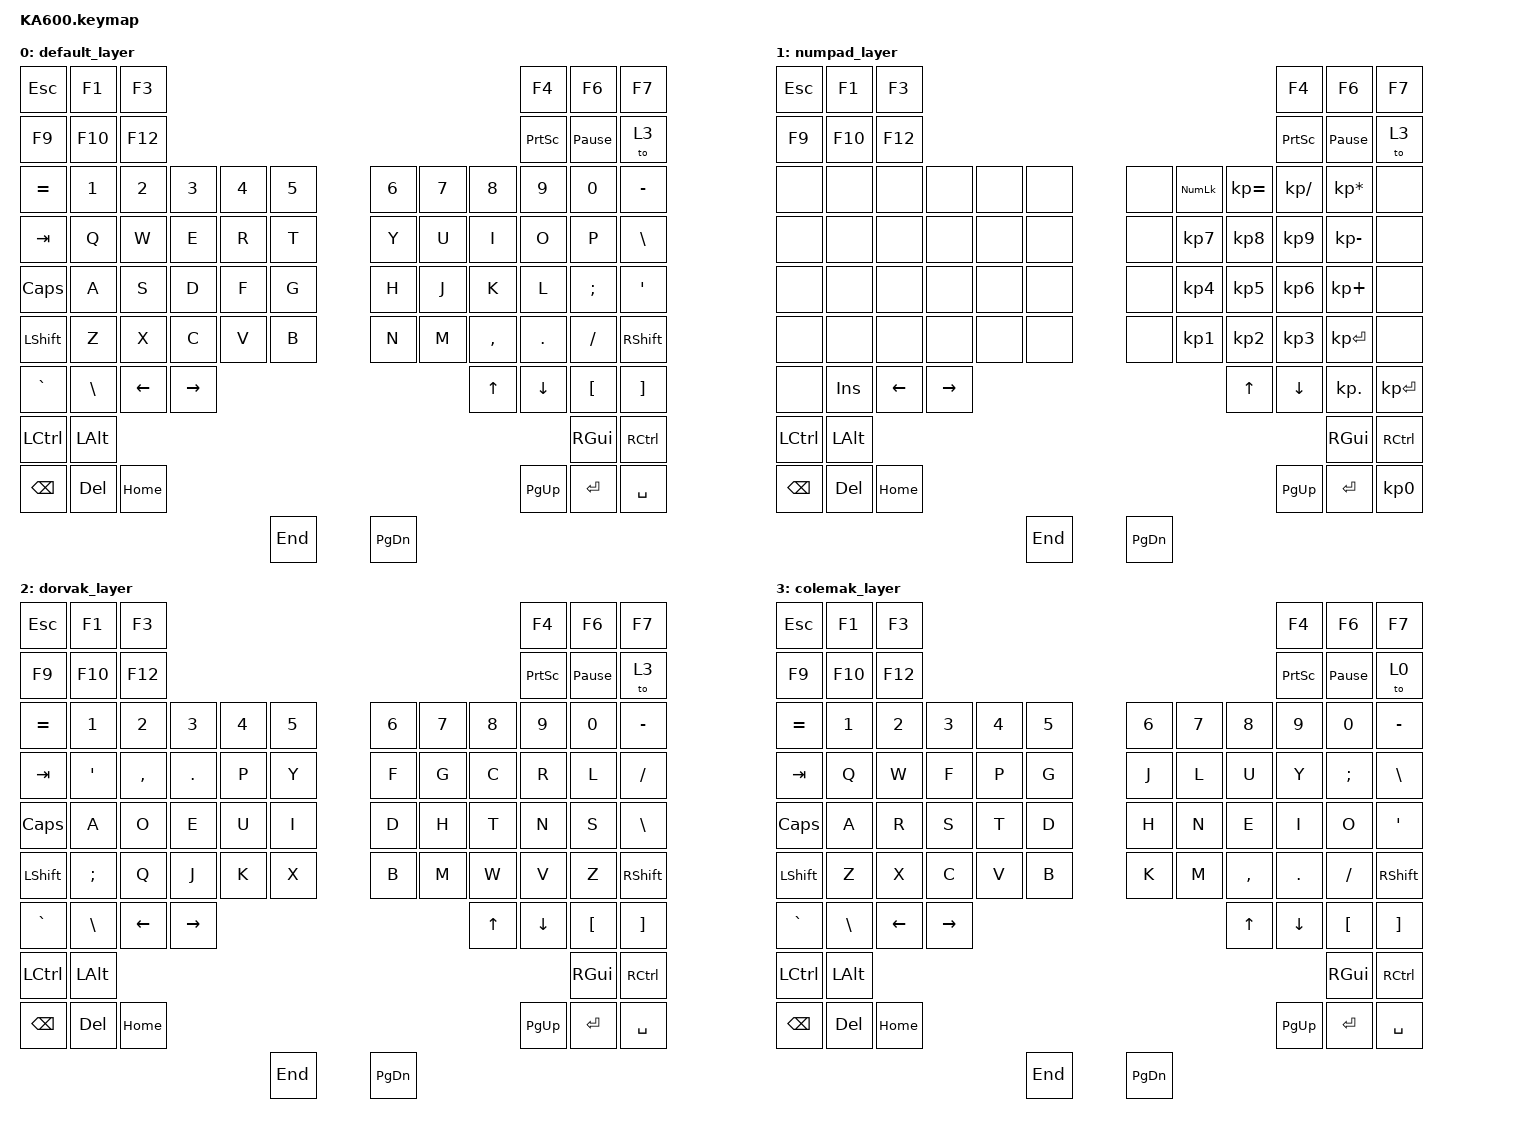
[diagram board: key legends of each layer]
/*
 * Copyright (c) 2021 The ZMK Contributors
 *
 * SPDX-License-Identifier: MIT
 */

#include <behaviors.dtsi>
#include <dt-bindings/zmk/keys.h>
#include <dt-bindings/zmk/bt.h>

/ {
    keymap0: keymap {
        compatible = "zmk,keymap";

    // default layer matches printing on keyboard

default_layer {
 bindings = <
  &kp ESC   &kp F1    /*dead*/   &kp F3    &kp F4    /*dead*/    &kp F6   &kp F7   /*dead*/    
                                                                   &kp F9   &kp F10  /*dead*/   &kp F12  &kp PSCRN /*dead*/ &kp PAUSE_BREAK /*dead*/ &to 3
  &kp EQUAL &kp N1    &kp N2   &kp N3    &kp N4    &kp N5          &kp N6   &kp N7   &kp N8    &kp N9   &kp N0   &kp MINUS                                                             
  &kp TAB   &kp Q     &kp W    &kp E     &kp R     &kp T           &kp Y    &kp U    &kp I     &kp O    &kp P    &kp BSLH                                                              
  &kp CLCK  &kp A     &kp S    &kp D     &kp F     &kp G           &kp H    &kp J    &kp K     &kp L    &kp SEMI &kp SQT                                                               
  &kp LSHFT &kp Z     &kp X    &kp C     &kp V     &kp B           &kp N    &kp M    &kp COMMA &kp DOT  &kp FSLH &kp RSHFT                                                             
            &kp GRAVE &kp BSLH &kp LEFT  &kp RIGHT                          &kp UP   &kp DOWN  &kp LBKT &kp RBKT                                                                                                  
                                         &kp LCTRL &kp LALT        &kp RGUI &kp RCTRL                                                                                                                                        
                               &kp BSPC  &kp DEL   &kp HOME        &kp PG_UP &kp ENTER &kp SPACE                                                                                                                    
                                                   &kp END         &kp PG_DN                                                                                                                                                           
 >;
};

numpad_layer {
 bindings = <
  &kp ESC   &kp F1    /*dead*/   &kp F3    &kp F4    /*dead*/    &kp F6   &kp F7   /*dead*/    
                                                                   &kp F9   &kp F10  /*dead*/   &kp F12  &kp PSCRN /*dead*/ &kp PAUSE_BREAK /*dead*/ &to 3
  &none  &none  &none    &none     &none      &none           &none     &kp KP_NUM  &kp KP_EQUAL &kp KP_SLASH  &kp KP_MULTIPLY &none                                                             
  &none  &none  &none    &none     &none      &none           &none     &kp KP_N7   &kp KP_N8    &kp KP_N9     &kp KP_MINUS    &none                                                              
  &none  &none  &none    &none     &none      &none           &none     &kp KP_N4   &kp KP_N5    &kp KP_N6     &kp KP_PLUS     &none                                                               
  &none  &none  &none    &none     &none      &none           &none     &kp KP_N1   &kp KP_N2    &kp KP_N3     &kp KP_ENTER    &none                                                             
         &none  &kp INS  &kp LEFT  &kp RIGHT                            &kp UP      &kp DOWN     &kp KP_DOT    &kp KP_ENTER                                                                                                  
                                   &kp LCTRL  &kp LALT        &kp RGUI  &kp RCTRL                                                                                                                                        
                         &kp BSPC  &kp DEL    &kp HOME        &kp PG_UP &kp ENTER &kp KP_N0                                                                                                                    
                                              &kp END         &kp PG_DN                                                                                                                                                           
 >;
};     

dorvak_layer {
 bindings = <
  &kp ESC   &kp F1    /*dead*/   &kp F3    &kp F4    /*dead*/    &kp F6   &kp F7   /*dead*/    
                                                                   &kp F9   &kp F10  /*dead*/   &kp F12  &kp PSCRN /*dead*/ &kp PAUSE_BREAK /*dead*/ &to 3
  &kp EQUAL &kp N1    &kp N2    &kp N3    &kp N4    &kp N5          &kp N6    &kp N7   &kp N8    &kp N9   &kp N0   &kp MINUS                                                             
  &kp TAB   &kp SQT   &kp COMMA &kp DOT   &kp P     &kp Y           &kp F     &kp G    &kp C     &kp R    &kp L    &kp FSLH                                                              
  &kp CLCK  &kp A     &kp O     &kp E     &kp U     &kp I           &kp D     &kp H    &kp T     &kp N    &kp S    &kp BSLH                                                               
  &kp LSHFT &kp SEMI  &kp Q     &kp J     &kp K     &kp X           &kp B     &kp M    &kp W     &kp V    &kp Z    &kp RSHFT                                                             
            &kp GRAVE &kp BSLH  &kp LEFT  &kp RIGHT                           &kp UP   &kp DOWN  &kp LBKT &kp RBKT                                                                                                  
                                          &kp LCTRL &kp LALT        &kp RGUI  &kp RCTRL                                                                                                                                        
                                &kp BSPC  &kp DEL   &kp HOME        &kp PG_UP &kp ENTER &kp SPACE                                                                                                                    
                                                    &kp END         &kp PG_DN                                                                                                                                                           
 >;
};

colemak_layer {
 bindings = <
  &kp ESC   &kp F1    /*dead*/   &kp F3    &kp F4    /*dead*/    &kp F6   &kp F7   /*dead*/    
                                                                   &kp F9   &kp F10  /*dead*/   &kp F12  &kp PSCRN /*dead*/ &kp PAUSE_BREAK /*dead*/ &to 0
  &kp EQUAL &kp N1    &kp N2   &kp N3    &kp N4    &kp N5          &kp N6   &kp N7   &kp N8    &kp N9   &kp N0   &kp MINUS                                                             
  &kp TAB   &kp Q     &kp W    &kp F     &kp P     &kp G           &kp J    &kp L    &kp U     &kp Y    &kp SEMI &kp BSLH                                                              
  &kp CLCK  &kp A     &kp R    &kp S     &kp T     &kp D           &kp H    &kp N    &kp E     &kp I    &kp O    &kp SQT                                                               
  &kp LSHFT &kp Z     &kp X    &kp C     &kp V     &kp B           &kp K    &kp M    &kp COMMA &kp DOT  &kp FSLH &kp RSHFT                                                             
            &kp GRAVE &kp BSLH &kp LEFT  &kp RIGHT                          &kp UP   &kp DOWN  &kp LBKT &kp RBKT                                                                                                  
                                         &kp LCTRL &kp LALT        &kp RGUI &kp RCTRL                                                                                                                                        
                               &kp BSPC  &kp DEL   &kp HOME        &kp PG_UP &kp ENTER &kp SPACE                                                                                                                    
                                                   &kp END         &kp PG_DN                                                                                                                                                           
 >;
};

};
};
